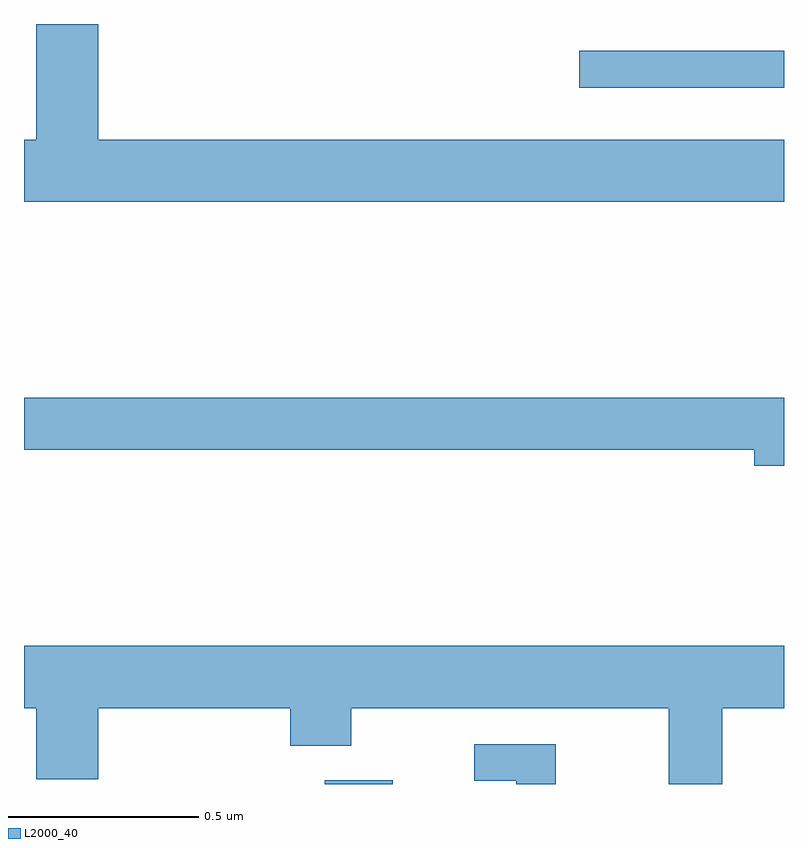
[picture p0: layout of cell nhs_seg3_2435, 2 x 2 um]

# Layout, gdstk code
import gdstk
lib = gdstk.Library(unit=1e-6, precision=1e-09)
def R(c, l, rs):  # rectangles x0, y0, x1, y1
    for r in rs: c.add(gdstk.rectangle(r[:2], r[2:], *l))
def P(c, l, *ps):  # polygons
    for p in ps: c.add(gdstk.Polygon(p, *l))
L2000_40 = (2000, 40)

nhs_seg3_2435 = lib.new_cell('nhs_seg3_2435')
R(nhs_seg3_2435, L2000_40, [(141.791,683.4,141.97,683.41), (142.461,685.232,143,685.329)])
P(nhs_seg3_2435, L2000_40, [(143,685.096),(141.196,685.096),(141.196,685.4),(141.032,685.4),(141.032,685.096),(141,685.096),(141,684.932),(143,684.932)],
  [(143,684.416),(141,684.416),(141,684.28),(142.922,684.28),(142.922,684.238),(143,684.238)],
  [(142.837,683.6),(143,683.6),(143,683.764),(141,683.764),(141,683.6),(141.032,683.6),(141.032,683.412),(141.196,683.412),(141.196,683.6),(141.701,683.6),(141.701,683.501),(141.861,683.501),(141.861,683.6),(142.697,683.6),(142.697,683.4),(142.837,683.4)],
  [(142.399,683.505),(142.185,683.505),(142.185,683.409),(142.295,683.409),(142.295,683.4),(142.399,683.4)])

lib.write_gds('nhs_seg3_2435.gds')
